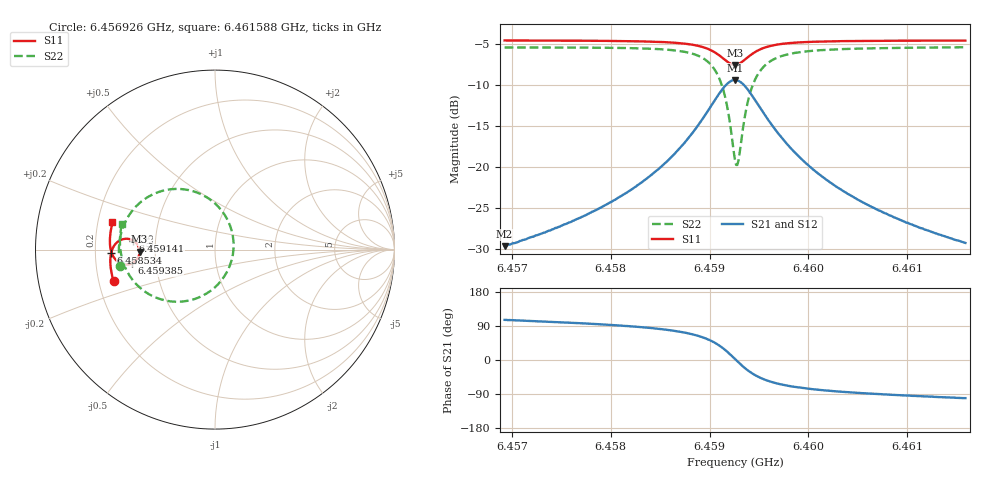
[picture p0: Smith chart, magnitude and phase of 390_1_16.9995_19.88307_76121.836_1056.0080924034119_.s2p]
#  HZ  S  RI  R  50.00
! Rohde & Schwarz Vector Network Analyzer
! Rohde-Schwarz,ZNB20-2Port,1311601062101988,3.16
! Created: UTC 3/20/2024, 11:09:36 PM
! freq[Hz]  re:S11  im:S11  re:S21  im:S21  re:S12  im:S12  re:S22  im:S22
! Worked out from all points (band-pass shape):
!   401 points, 6.456926 GHz to 6.461588 GHz, reference 50 ohm
!   highest |S21| = -9.37 dB at 6.459257 GHz (marker M1); lowest = -29.6 dB at 6.456926 GHz (marker M2)
!   |S21| within 3 dB of the highest: 6.459024 GHz to 6.45949 GHz (466.4 kHz wide, 0.00722 % of centre)
!   lowest |S11| = -7.5 dB at 6.459257 GHz (marker M3), VSWR 2.45, Z = 20.4 - j0.562 ohm
!   |S11| at or under -10 dB: nowhere
!   |S22| runs from -19.7 to -5.4 dB; largest |S21 - S12| = 0.013
!   S11 on the Smith chart (normalised r, x): 6.456926 GHz: 0.26, -0.14; 6.458534 GHz: 0.27, -0.01; 6.459141 GHz: 0.37, +0.05; 6.459385 GHz: 0.36, -0.07; 6.461588 GHz: 0.26, +0.12
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6.4569262e9  -0.5654 -0.176  -0.00906 0.0318  -0.00748 0.0318  -0.5292 -0.089
6.457707e9  -0.5801 -0.1081  -0.00591 0.0496  -0.00349 0.0489  -0.5357 0.000897
6.4581616e9  -0.5833 -0.0626  0.000294 0.0702  0.00366 0.0689  -0.5273 0.0725
6.4584879e9  -0.5798 -0.0237  0.0134 0.0972  0.0173 0.0947  -0.5038 0.1456
6.4585345e9  -0.5784 -0.0175  0.0167 0.1028  0.0206 0.0998  -0.4976 0.1587
6.4587443e9  -0.5665 0.0143  0.0424 0.1338  0.0465 0.1294  -0.4498 0.2299
6.4588958e9  -0.5456 0.0406  0.0843 0.164  0.0876 0.1577  -0.3727 0.2938
6.4590473e9  -0.5001 0.0603  0.1748 0.1831  0.1757 0.1758  -0.2073 0.3382
6.4591405e9  -0.456 0.0504  0.2635 0.1527  0.2639 0.1469  -0.0433 0.2898
6.4591871e9  -0.4351 0.032  0.3067 0.1106  0.3079 0.1056  0.0387 0.2152
6.4592571e9  -0.4204 -0.0113  0.3398 0.0154  0.3433 0.00865  0.1034 0.0389
6.4592687e9  -0.4208 -0.0193  0.3397 -0.00215  0.3432 -0.00949  0.1032 0.00586
6.459292e9  -0.4243 -0.0346  0.3343 -0.0363  0.338 -0.045  0.0927 -0.0588
6.4593386e9  -0.4396 -0.0602  0.3065 -0.0954  0.3086 -0.1068  0.0368 -0.1701
6.4593853e9  -0.4613 -0.0762  0.2652 -0.1359  0.2643 -0.1487  -0.0462 -0.2442
6.4594785e9  -0.5041 -0.0828  0.182 -0.1668  0.176 -0.1781  -0.2117 -0.2907
6.45963e9  -0.5472 -0.0624  0.0953 -0.1539  0.0872 -0.1598  -0.3767 -0.243
6.4597932e9  -0.5686 -0.0349  0.0511 -0.1266  0.0437 -0.1292  -0.4562 -0.1725
6.4600379e9  -0.5812 0.000676  0.0222 -0.0955  0.0166 -0.0961  -0.5038 -0.0913
6.4603526e9  -0.5855 0.038  0.00742 -0.0713  0.00328 -0.0708  -0.5245 -0.0194
6.4608187e9  -0.5836 0.0848  -0.00135 -0.051  -0.00404 -0.0502  -0.5298 0.0549
6.4615879e9  -0.5711 0.1527  -0.00636 -0.034  -0.00802 -0.033  -0.5185 0.1448
